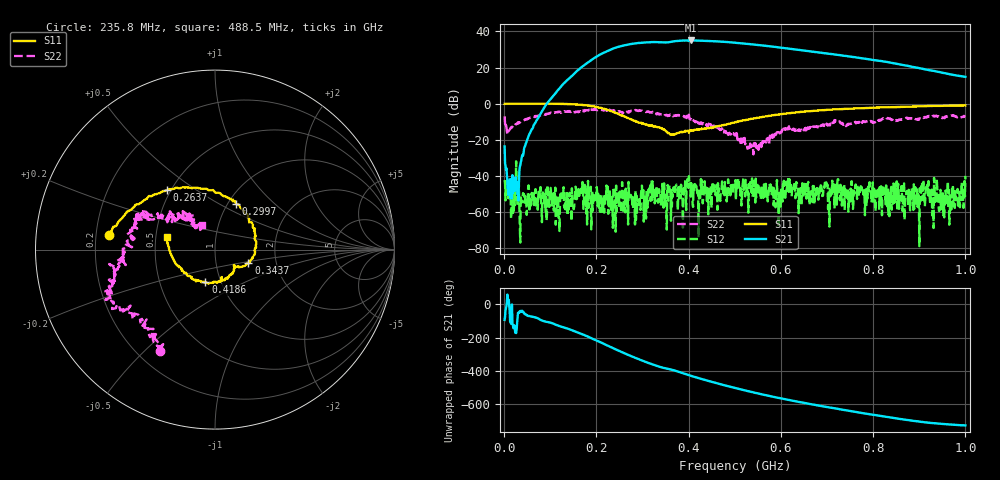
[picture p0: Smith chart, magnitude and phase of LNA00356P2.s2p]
! Created with skrf 1.9.0 (http://scikit-rf.org).
# Hz S RI R 50.0
!freq ReS11 ImS11 ReS21 ImS21 ReS12 ImS12 ReS22 ImS22
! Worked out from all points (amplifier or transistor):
!   1001 points, 1 MHz to 1 GHz, reference 50 ohm
!   highest |S21| = 35.0 dB at 404.6 MHz (marker M1)
!   |S21| within 3 dB of that: 255.8 MHz to 568.1 MHz (312.3 MHz wide, 75.8 % of centre)
!   unconditionally stable (mu >= 1): 242.8 MHz to 319.6 MHz; 321.8 MHz to 400.5 MHz; 400.7 MHz to end of sweep (the widest 3 of 28)
!   at 166.8 MHz: K = 0.32, MSG = 33.6 dB, |S12| = -47.1 dB
!   at 500.5 MHz: K = 1.77, MAG = 34.5 dB, |S12| = -45.4 dB
!   at 1 GHz: K = 1.21, MAG = 24.6 dB, |S12| = -40.0 dB
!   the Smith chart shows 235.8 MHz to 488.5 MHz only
!   S11 on the Smith chart (normalised r, x): 235.8 MHz: 0.25, +0.06; 263.7 MHz: 0.48, +0.39; 299.7 MHz: 1.09, +0.60; 343.7 MHz: 1.44, -0.22; 418.6 MHz: 0.84, -0.32; 488.5 MHz: 0.57, +0.09
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1000000  0.9912 0.00201  -0.004 -0.0652  -0.00395 -0.00654  0.2921 0.3371
1.08892e8  0.5089 -0.8545  -0.8611 -1.574  0.00383 -0.00064  0.4137 -0.3796
1.67833e8  -0.2567 -0.8878  -10.27 -0.3393  0.00101 -0.00328  0.03 -0.627
2.06794e8  -0.6661 -0.4004  -15.84 16.05  -0.00268 -0.000914  -0.166 -0.6595
2.35765e8  -0.5909 0.0819  -3.908 33.15  0.000349 0.000104  -0.3053 -0.5644
2.63737e8  -0.2689 0.3312  19.85 36.93  -0.00443 0.000205  -0.451 -0.3561
2.99701e8  0.1169 0.2557  45.79 17.62  -0.00243 -0.00044  -0.5767 -0.2351
3.18682e8  0.2158 0.1188  50.64 1.543  -0.00309 0.00146  -0.5525 -0.1268
3.34666e8  0.2235 -0.0133  48.92 -12.03  -0.00198 0.000687  -0.5137 -0.0414
3.43657e8  0.1861 -0.0738  46.5 -17.8  -0.00106 0.00147  -0.5135 0.0048
3.72628e8  0.1107 -0.1003  41.05 -35.62  -0.00281 0.00452  -0.4581 0.147
4.04596e8  0.019 -0.1767  19.19 -52.91  0.000245 0.00265  -0.3152 0.1808
4.18582e8  -0.0534 -0.1808  8.007 -55.04  0.00364 0.00167  -0.2585 0.17
4.49551e8  -0.1848 -0.1181  -15.23 -51.75  -0.00117 0.000522  -0.1356 0.1597
4.88512e8  -0.2693 0.0728  -35.5 -35.4  0.00207 0.00264  -0.0745 0.1372
5.005e8  -0.2732 0.1407  -39.47 -29.1  0.00319 0.00435  -0.0933 0.0981
5.4046e8  -0.187 0.3373  -42.77 -7.495  0.00424 -0.0057  -0.0356 0.017
5.88412e8  0.0193 0.4873  -34.93 12.55  0.00132 -0.000284  -0.1146 -0.0711
6.67333e8  0.398 0.4865  -12.72 24.41  0.00177 -0.00263  -0.2001 -0.0619
7.53247e8  0.6764 0.2751  4.729 19.29  -0.00526 -0.00479  -0.2777 -0.0255
8.34166e8  0.7949 0.0132  10.72 8.938  -0.00218 -0.0026  -0.3863 -0.00678
1e9  0.7252 -0.5256  5.471 -0.9057  -0.00899 0.00444  -0.3 0.3053
